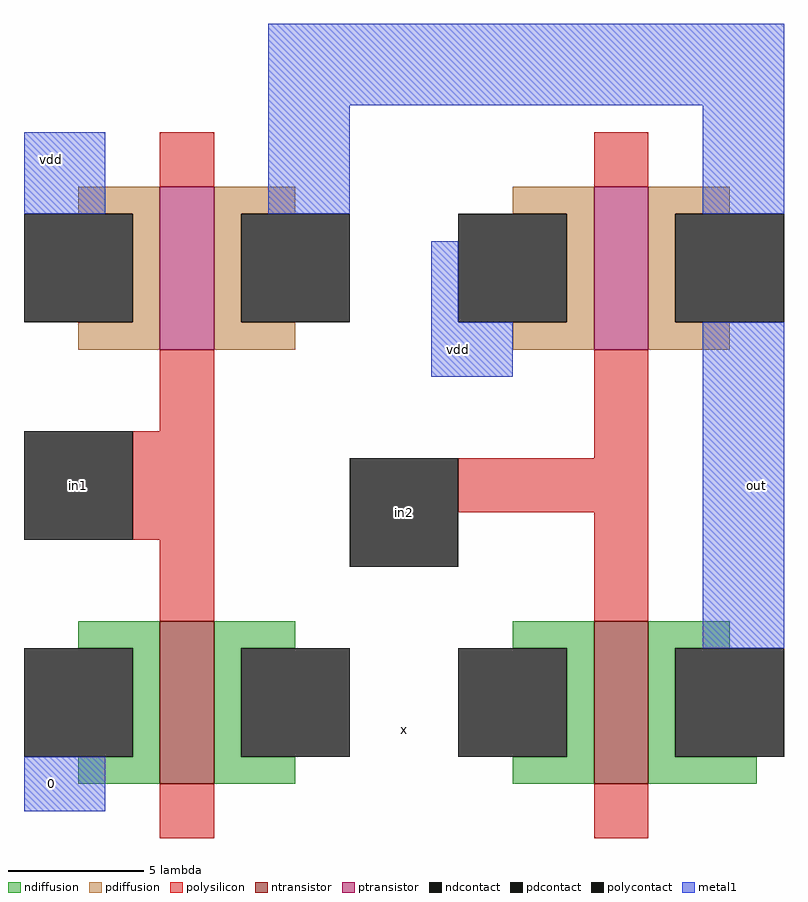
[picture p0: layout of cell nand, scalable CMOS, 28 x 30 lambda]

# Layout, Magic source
magic
tech scmos
<< polysilicon >>
rect -13 15 -11 17
rect 3 15 5 17
rect -13 6 -11 9
rect -14 2 -11 6
rect 3 5 5 9
rect -13 -1 -11 2
rect -2 3 5 5
rect 3 -1 5 3
rect -13 -9 -11 -7
rect 3 -9 5 -7
<< ndiffusion >>
rect -16 -2 -13 -1
rect -14 -6 -13 -2
rect -16 -7 -13 -6
rect -11 -2 -8 -1
rect 0 -2 3 -1
rect -11 -6 -10 -2
rect 2 -6 3 -2
rect -11 -7 -8 -6
rect 0 -7 3 -6
rect 5 -2 8 -1
rect 5 -6 6 -2
rect 5 -7 9 -6
<< pdiffusion >>
rect -16 14 -13 15
rect -14 10 -13 14
rect -16 9 -13 10
rect -11 14 -8 15
rect 0 14 3 15
rect -11 10 -10 14
rect 2 10 3 14
rect -11 9 -8 10
rect 0 9 3 10
rect 5 14 8 15
rect 5 10 6 14
rect 5 9 8 10
<< metal1 >>
rect -9 18 10 21
rect -18 14 -15 17
rect -9 14 -6 18
rect 7 14 10 18
rect -3 10 -2 13
rect -3 8 0 10
rect 7 -2 10 10
91rect -6 -6 -2 -3
rect -18 -8 -15 -6
<< ntransistor >>
rect -13 -7 -11 -1
rect 3 -7 5 -1
<< ptransistor >>
rect -13 9 -11 15
rect 3 9 5 15
<< polycontact >>
rect -18 2 -14 6
rect -6 1 -2 5
<< ndcontact >>
rect -18 -6 -14 -2
rect -10 -6 -6 -2
rect -2 -6 2 -2
rect 6 -6 10 -2
<< pdcontact >>
rect -18 10 -14 14
rect -10 10 -6 14
rect -2 10 2 14
rect 6 10 10 14
<< labels >>
rlabel metal1 -17 16 -17 16 5 vdd
rlabel metal1 9 4 9 4 5 out
rlabel polycontact -4 3 -4 3 5 in2
rlabel polycontact -16 4 -16 4 5 in1
rlabel metal1 -17 -7 -17 -7 3 0
rlabel metal1 -4 -5 -4 -5 1 x
rlabel metal1 -2 9 -2 9 5 vdd
<< end >>
